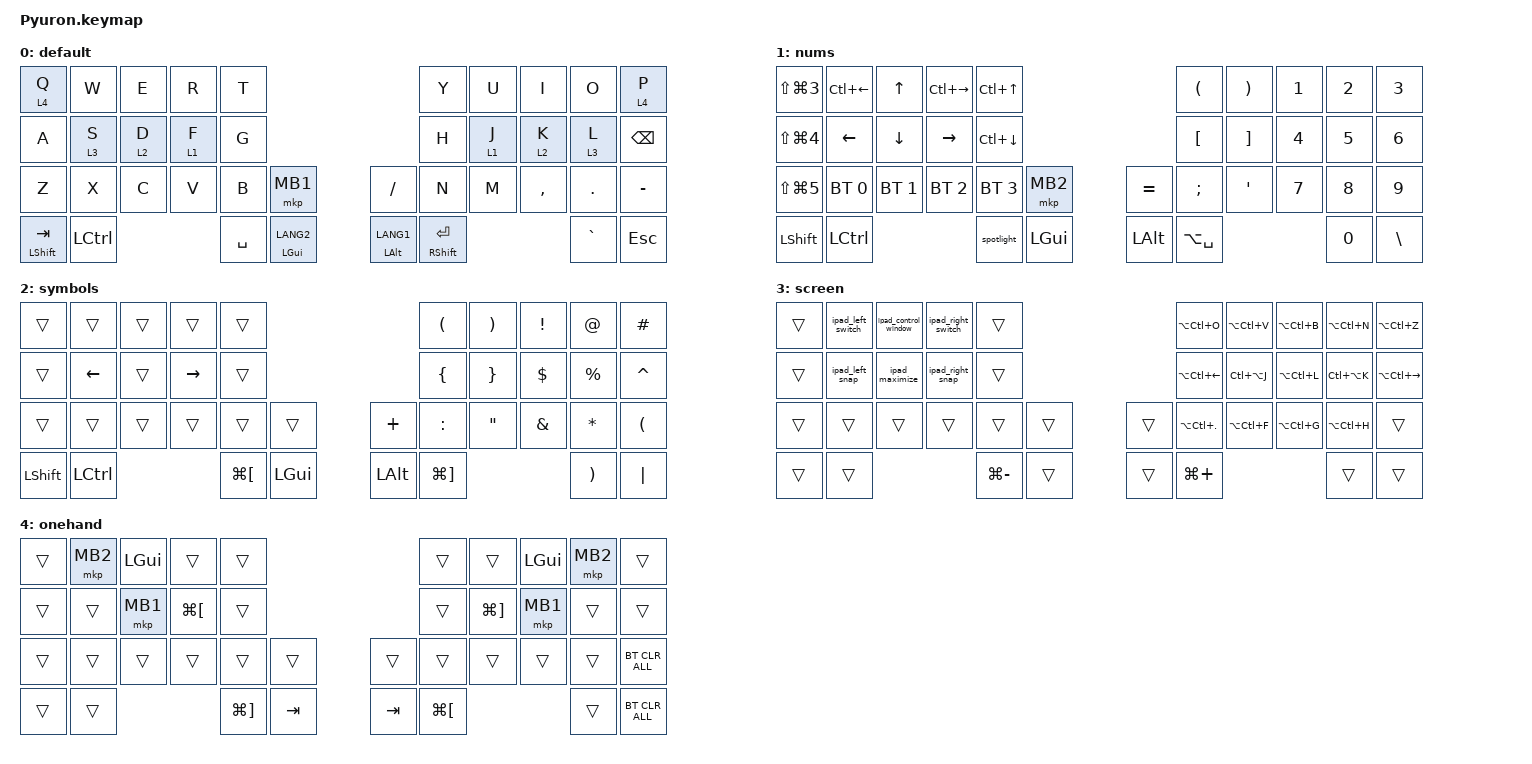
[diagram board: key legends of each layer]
#include <behaviors.dtsi>
#include <dt-bindings/zmk/bt.h>
#include <dt-bindings/zmk/keys.h>
#include <dt-bindings/zmk/pointing.h>

#define MOUSE 6

&mt {
    flavor = "balanced";
    quick-tap-ms = <0>;
};

/ {
    combos { compatible = "zmk,combos"; };

    macros {
        ipad_maximize: ipad_maximize {
            compatible = "zmk,behavior-macro";
            #binding-cells = <0>;
            bindings =
                <&macro_press>,
                <&kp CAPSLOCK>,
                <&macro_tap>,
                <&kp F>,
                <&macro_release>,
                <&kp CAPSLOCK>;

            label = "IPAD_MAXIMIZE";
        };

        ipad_left_snap: ipad_left_snap {
            compatible = "zmk,behavior-macro";
            #binding-cells = <0>;
            bindings =
                <&macro_press>,
                <&kp CAPSLOCK>,
                <&macro_tap>,
                <&kp LS(LC(LEFT))>,
                <&macro_release>,
                <&kp CAPSLOCK>;

            label = "IPAD_LEFT_SNAP";
        };

        ipad_right_snap: ipad_right_snap {
            compatible = "zmk,behavior-macro";
            #binding-cells = <0>;
            bindings =
                <&macro_press>,
                <&kp CAPSLOCK>,
                <&macro_tap>,
                <&kp LS(LC(RIGHT))>,
                <&macro_release>,
                <&kp CAPSLOCK>;

            label = "IPAD_RIGHT_SNAP";
        };

        spotlight: new_macro {
            compatible = "zmk,behavior-macro";
            #binding-cells = <0>;
            bindings = <&macro_tap>, <&kp LG(SPACE) &kp LANG2>;

            label = "NEW_MACRO";
        };

        ipad_control_window: ipad_control_window {
            compatible = "zmk,behavior-macro";
            #binding-cells = <0>;
            bindings =
                <&macro_press>,
                <&kp CAPS>,
                <&macro_tap>,
                <&kp UP>,
                <&macro_release>,
                <&kp CAPS>;

            label = "IPAD_CONTROL_WINDOW";
        };

        ipad_left_switch: ipad_left_switch {
            compatible = "zmk,behavior-macro";
            #binding-cells = <0>;
            bindings =
                <&macro_press>,
                <&kp CAPS>,
                <&macro_tap>,
                <&kp LEFT>,
                <&macro_release>,
                <&kp CAPS>;

            label = "IPAD_LEFT_SWITCH";
        };

        ipad_right_switch: ipad_right_switch {
            compatible = "zmk,behavior-macro";
            #binding-cells = <0>;
            bindings =
                <&macro_press>,
                <&kp CAPS>,
                <&macro_tap>,
                <&kp RIGHT>,
                <&macro_release>,
                <&kp CAPS>;

            label = "IPAD_RIGHT_SWITCH";
        };
    };

    lt_to_layer_0: lt_to_layer_0 {
        compatible = "zmk,behavior-hold-tap";
        label = "LAYER_TAP_TO_0";
        bindings = <&mo>, <&ipad_maximize>;

        #binding-cells = <2>;
        tapping-term-ms = <200>;
    };
};

/ {
    behaviors {
    };

    keymap {
        compatible = "zmk,keymap";

        default {
            bindings = <
&lt 4 Q  &kp W      &kp E               &kp R      &kp T      &kp Y               &kp U               &kp I                  &kp O      &lt 4 P
&kp A    &lt 3 S    &lt 2 D             &lt 1 F    &kp G      &kp H               &lt 1 J             &lt 2 K                &lt 3 L    &kp BACKSPACE
&kp Z    &kp X      &kp C               &kp V      &kp B      &mkp MB1            &kp SLASH           &kp N                  &kp M      &kp COMMA
&kp DOT  &kp MINUS  &mt LEFT_SHIFT TAB  &kp LCTRL  &kp SPACE  &mt LEFT_GUI LANG2  &mt LEFT_ALT LANG1  &mt RIGHT_SHIFT ENTER  &kp GRAVE  &kp ESCAPE
            >;
        };

        nums {
            bindings = <
&kp LS(LG(NUMBER_3))  &kp LC(LEFT)  &kp UP          &kp LC(RIGHT)  &kp LC(UP_ARROW)  &kp LEFT_PARENTHESIS  &kp RIGHT_PARENTHESIS  &kp NUMBER_1   &kp NUMBER_2  &kp NUMBER_3
&kp LS(LG(NUMBER_4))  &kp LEFT      &kp DOWN        &kp RIGHT      &kp LC(DOWN)      &kp LEFT_BRACKET      &kp RIGHT_BRACKET      &kp NUMBER_4   &kp NUMBER_5  &kp NUMBER_6
&kp LS(LG(NUMBER_5))  &bt BT_SEL 0  &bt BT_SEL 1    &bt BT_SEL 2   &bt BT_SEL 3      &mkp MB2              &kp EQUAL              &kp SEMICOLON  &kp SQT       &kp NUMBER_7
&kp NUMBER_8          &kp NUMBER_9  &kp LEFT_SHIFT  &kp LCTRL      &spotlight        &kp LEFT_GUI          &kp LEFT_ALT           &kp LA(SPACE)  &kp NUMBER_0  &kp BACKSLASH
            >;
        };

        symbols {
            bindings = <
&trans        &trans                &trans          &trans     &trans                &kp LEFT_PARENTHESIS  &kp RIGHT_PARENTHESIS  &kp EXCLAMATION        &kp AT_SIGN            &kp HASH
&trans        &kp LEFT              &trans          &kp RIGHT  &trans                &kp LEFT_BRACE        &kp RIGHT_BRACE        &kp DOLLAR             &kp PERCENT            &kp CARET
&trans        &trans                &trans          &trans     &trans                &trans                &kp PLUS               &kp COLON              &kp DOUBLE_QUOTES      &kp AMPERSAND
&kp ASTERISK  &kp LEFT_PARENTHESIS  &kp LEFT_SHIFT  &kp LCTRL  &kp LG(LEFT_BRACKET)  &kp LEFT_GUI          &kp LEFT_ALT           &kp LG(RIGHT_BRACKET)  &kp RIGHT_PARENTHESIS  &kp PIPE
            >;
        };

        screen {
            bindings = <
&trans         &ipad_left_switch  &ipad_control_window  &ipad_right_switch  &trans         &kp LA(LC(O))     &kp LA(LC(V))  &kp LA(LC(B))       &kp LA(LC(N))  &kp LA(LC(Z))
&trans         &ipad_left_snap    &ipad_maximize        &ipad_right_snap    &trans         &kp LA(LC(LEFT))  &kp LC(LA(J))  &kp LA(LC(L))       &kp LC(LA(K))  &kp LA(LC(RIGHT))
&trans         &trans             &trans                &trans              &trans         &trans            &trans         &kp LA(LC(PERIOD))  &kp LA(LC(F))  &kp LA(LC(G))
&kp LA(LC(H))  &trans             &trans                &trans              &kp LG(MINUS)  &trans            &trans         &kp LG(PLUS)        &trans         &trans
            >;
        };

        onehand {
            bindings = <
&trans  &mkp MB2        &kp LEFT_GUI  &trans                &trans                 &trans   &trans                 &kp LEFT_GUI          &mkp MB2  &trans
&trans  &trans          &mkp MB1      &kp LG(LEFT_BRACKET)  &trans                 &trans   &kp LG(RIGHT_BRACKET)  &mkp MB1              &trans    &trans
&trans  &trans          &trans        &trans                &trans                 &trans   &trans                 &trans                &trans    &trans
&trans  &bt BT_CLR_ALL  &trans        &trans                &kp LG(RIGHT_BRACKET)  &kp TAB  &kp TAB                &kp LG(LEFT_BRACKET)  &trans    &bt BT_CLR_ALL
            >;
        };
    };
};
